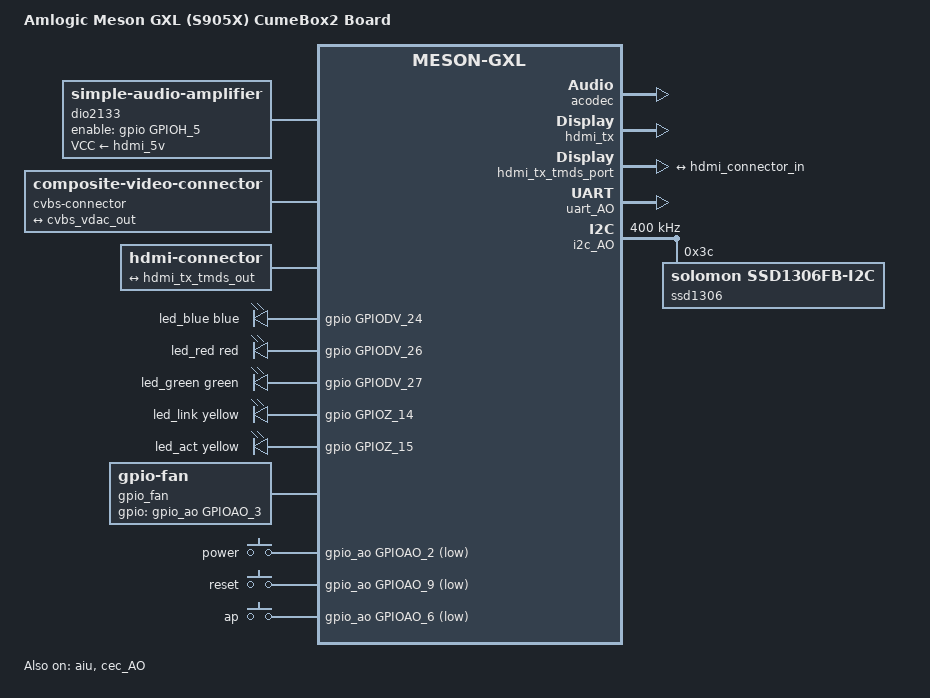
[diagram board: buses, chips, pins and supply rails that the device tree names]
// SPDX-License-Identifier: (GPL-2.0+ OR MIT)
/*
 * Copyright (c) 2016 Endless Computers, Inc.
 * Author: Carlo Caione <carlo@endlessm.com>
 */

/dts-v1/;

#include "meson-gxl-s905x-p212.dtsi"
#include <dt-bindings/leds/common.h>
#include <dt-bindings/input/input.h>
#include <dt-bindings/sound/meson-aiu.h>

/ {
	compatible = "amlogic,p212", "amlogic,s905x", "amlogic,meson-gxl";
	model = "Amlogic Meson GXL (S905X) CumeBox2 Board";

	dio2133: analog-amplifier {
		compatible = "simple-audio-amplifier";
		sound-name-prefix = "AU2";
		VCC-supply = <&hdmi_5v>;
		enable-gpios = <&gpio GPIOH_5 GPIO_ACTIVE_HIGH>;
	};

	cvbs-connector {
		compatible = "composite-video-connector";

		port {
			cvbs_connector_in: endpoint {
				remote-endpoint = <&cvbs_vdac_out>;
			};
		};
	};

	hdmi-connector {
		compatible = "hdmi-connector";
		type = "a";

		port {
			hdmi_connector_in: endpoint {
				remote-endpoint = <&hdmi_tx_tmds_out>;
			};
		};
	};

	sound {
		compatible = "amlogic,gx-sound-card";
		model = "S905X-P212";
		audio-aux-devs = <&dio2133>;
		audio-widgets = "Line", "Lineout";
		audio-routing = "AU2 INL", "ACODEC LOLN",
				"AU2 INR", "ACODEC LORN",
				"Lineout", "AU2 OUTL",
				"Lineout", "AU2 OUTR";
		assigned-clocks = <&clkc CLKID_MPLL0>,
				  <&clkc CLKID_MPLL1>,
				  <&clkc CLKID_MPLL2>;
		assigned-clock-parents = <0>, <0>, <0>;
		assigned-clock-rates = <294912000>,
				       <270950400>,
				       <393216000>;
		status = "okay";

		dai-link-0 {
			sound-dai = <&aiu AIU_CPU CPU_I2S_FIFO>;
		};

		dai-link-1 {
			sound-dai = <&aiu AIU_CPU CPU_I2S_ENCODER>;
			dai-format = "i2s";
			mclk-fs = <256>;

			codec-0 {
				sound-dai = <&aiu AIU_HDMI CTRL_I2S>;
			};

			codec-1 {
				sound-dai = <&aiu AIU_ACODEC CTRL_I2S>;
			};
		};

		dai-link-2 {
			sound-dai = <&aiu AIU_HDMI CTRL_OUT>;

			codec-0 {
				sound-dai = <&hdmi_tx>;
			};
		};

		dai-link-3 {
			sound-dai = <&aiu AIU_ACODEC CTRL_OUT>;

			codec-0 {
				sound-dai = <&acodec>;
			};
		};
	};

  leds {
		compatible = "gpio-leds";

		led_blue {
			label = "led_blue";
			color = <LED_COLOR_ID_BLUE>;
			gpios = <&gpio GPIODV_24 GPIO_ACTIVE_HIGH>; // 73  gpio 474
            default-state = "off";
            linux,default-trigger = "default-on";
		};

		led_red {
			label = "led_red";
			color = <LED_COLOR_ID_RED>;
            function = LED_FUNCTION_POWER;
			gpios = <&gpio GPIODV_26 GPIO_ACTIVE_HIGH>; // 75 gpio 476
            default-state = "off";
			panic-indicator;
		};

		led_green {
			label = "led_green";
			color = <LED_COLOR_ID_GREEN>;
			gpios = <&gpio GPIODV_27 GPIO_ACTIVE_HIGH>; // 76  gpio 477
			default-state = "off";
		};

		led_link {
			label = "led_link";
            color = <LED_COLOR_ID_YELLOW>;
			gpios = <&gpio GPIOZ_14 GPIO_ACTIVE_HIGH>;
			default-state = "off";
			linux,default-trigger = "mdio_mux-0.e40908ff:08:link";
		};

		led_act {
			label = "led_act";
            color = <LED_COLOR_ID_YELLOW>;
			gpios = <&gpio GPIOZ_15 GPIO_ACTIVE_HIGH>;
			default-state = "off";
            linux,default-trigger = "netdev";
		};
	};

	thermal-zones {
		cpu-thermal {
			polling-delay-passive = <800>; /* milliseconds */
			polling-delay = <2000>; /* milliseconds */		
			thermal-sensors = <&scpi_sensors 0>;

			trips {
				cpu_active: cpu-active {
					temperature = <50000>; /* millicelsius */
					hysteresis = <3000>; /* millicelsius */
					type = "active";
				};

				cpu_passive: cpu-passive {
					temperature = <75000>; /* millicelsius */
					hysteresis = <2000>; /* millicelsius */
					type = "passive";
				};

				cpu_hot: cpu-hot {
					temperature = <95000>; /* millicelsius */
					hysteresis = <2000>; /* millicelsius */
					type = "hot";
				};
			};

			cooling-maps {
				map0 {
					trip = <&cpu_active>;
					cooling-device = <&gpio_fan THERMAL_NO_LIMIT 1>;
				};

				map1 {
					trip = <&cpu_passive>;
					cooling-device = <&gpio_fan THERMAL_NO_LIMIT 1>;
				};

				map2 {
					trip = <&cpu_hot>;
					cooling-device = <&gpio_fan THERMAL_NO_LIMIT 1>,
				              <&cpu0 THERMAL_NO_LIMIT THERMAL_NO_LIMIT>,
				              <&cpu1 THERMAL_NO_LIMIT THERMAL_NO_LIMIT>,
				              <&cpu2 THERMAL_NO_LIMIT THERMAL_NO_LIMIT>,
				              <&cpu3 THERMAL_NO_LIMIT THERMAL_NO_LIMIT>;
				};
			};
		};
	};

	gpio_fan: gpio-fan {
		#cooling-cells = <2>;
		compatible = "gpio-fan";
                status = "okay";
		gpio-fan,speed-map = <0 0 3500 1>;
		gpios = <&gpio_ao GPIOAO_3 GPIO_ACTIVE_HIGH>; //3 gpio 504
	};

	gpio-keys-polled {
		compatible = "gpio-keys-polled";
		poll-interval = <100>;

		power-button {
			label = "power";
			linux,code = <KEY_POWER>;
			gpios = <&gpio_ao GPIOAO_2 GPIO_ACTIVE_LOW>;//2 gpio 503
		};

		reset-button {
			label = "reset";
			linux,code = <KEY_FN_F1>;
			gpios = <&gpio_ao GPIOAO_9 GPIO_ACTIVE_LOW>;//9 gpio 510
		};

		ap-button {
			label = "ap";
			linux,code = <KEY_FN_F2>;
			gpios = <&gpio_ao GPIOAO_6 GPIO_ACTIVE_LOW>;  //6 gpio 507
		};
	};

	openvfd {
		compatible = "open,vfd";
		dev_name = "openvfd";
		status = "okay";
	};
};

&acodec {
	AVDD-supply = <&vddio_ao18>;
	status = "okay";
};

&aiu {
	status = "okay";
};

&cec_AO {
	status = "okay";
	pinctrl-0 = <&ao_cec_pins>;
	pinctrl-names = "default";
	hdmi-phandle = <&hdmi_tx>;
};

&cvbs_vdac_port {
	cvbs_vdac_out: endpoint {
		remote-endpoint = <&cvbs_connector_in>;
	};
};

&hdmi_tx {
	status = "okay";
	pinctrl-0 = <&hdmi_hpd_pins>, <&hdmi_i2c_pins>;
	pinctrl-names = "default";
	hdmi-supply = <&hdmi_5v>;
};

&hdmi_tx_tmds_port {
	hdmi_tx_tmds_out: endpoint {
		remote-endpoint = <&hdmi_connector_in>;
	};
};

/* This UART is brought out to the DB9 connector */
&uart_AO {
	status = "okay";
};


// enable I2C
&i2c_AO {
	status = "okay";
	pinctrl-0 = <&i2c_ao_pins>; //GPIOAO4,GPIOAO5
	pinctrl-names = "default";
	clock-frequency = < 400000 >;

	ssd1306: oled@3c {
                status = "okay";
		compatible = "solomon,ssd1306fb-i2c";
		reg = < 0x3c >;
		solomon,width = < 128 >;
		solomon,height = < 64 >;
		solomon,page-offset = < 0 >;
		solomon,com-invdir;
	};
};
